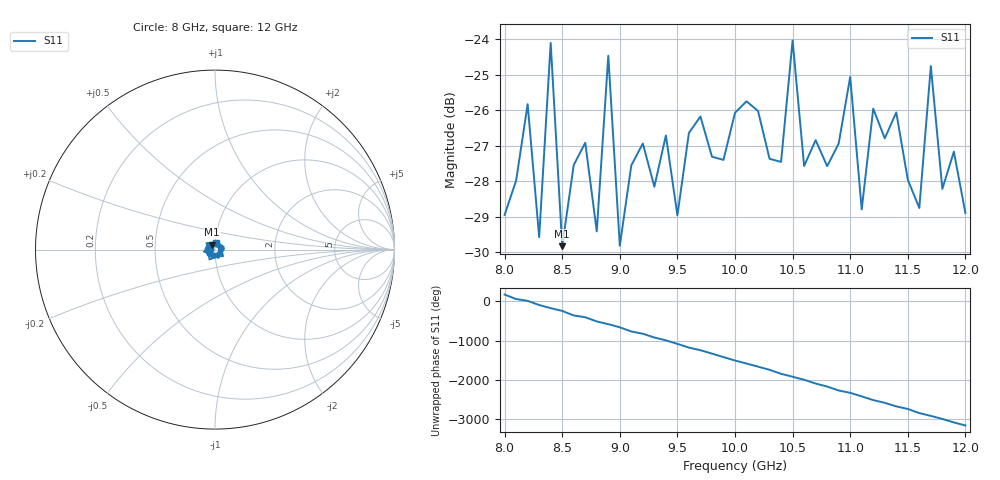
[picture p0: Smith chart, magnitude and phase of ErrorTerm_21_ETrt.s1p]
!  1-Port S-parameters saved by WinCal
! VAR NAME=2-Port SOLT labuser 6
! VAR Error Term Name=ETrt phys rcv port 2 phys src port 1
# Hz S RI R 50
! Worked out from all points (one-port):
!   41 points, 8 GHz to 12 GHz, reference 50 ohm
!   lowest |S11| = -29.8 dB at 8.5 GHz (marker M1), VSWR 1.07, Z = 48.4 + j2.73 ohm
!   |S11| at or under -10 dB: start of sweep to end of sweep
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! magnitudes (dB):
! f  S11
! 8 GHz  -28.9
! 8.2 GHz  -25.8
! 8.3 GHz  -29.6
! 8.4 GHz  -24.1
! 8.5 GHz  -29.8
! 8.7 GHz  -26.9
! 8.8 GHz  -29.4
! 8.9 GHz  -24.5
! 9 GHz  -29.8
! 9.2 GHz  -26.9
! 9.3 GHz  -28.2
! 9.4 GHz  -26.7
! 9.5 GHz  -29.0
! 9.6 GHz  -26.6
! 10 GHz  -26.1
! 10.4 GHz  -27.5
! 10.5 GHz  -24.0
! 10.6 GHz  -27.6
! 10.8 GHz  -27.6
! 11 GHz  -25.1
! 11.1 GHz  -28.8
! 11.2 GHz  -26.0
! 11.5 GHz  -28.0
! 11.6 GHz  -28.8
! 11.7 GHz  -24.8
! 11.8 GHz  -28.2
! 11.9 GHz  -27.2
! 12 GHz  -28.9
